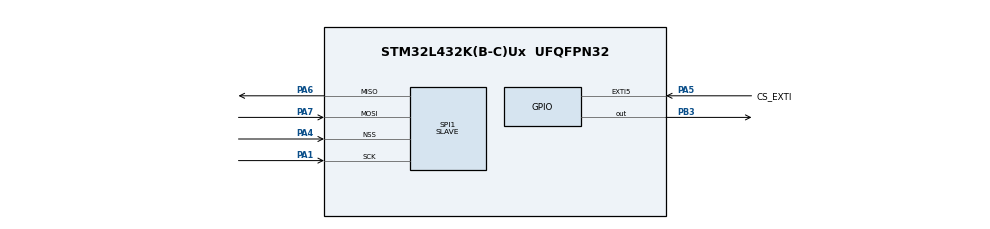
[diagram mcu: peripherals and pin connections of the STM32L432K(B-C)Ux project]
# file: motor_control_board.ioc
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Dma.Request0=SPI1_RX
Dma.Request1=SPI1_TX
Dma.SPI1_RX.0.Direction=DMA_PERIPH_TO_MEMORY
Dma.SPI1_RX.0.Instance=DMA1_Channel2
Dma.SPI1_RX.0.MemDataAlignment=DMA_MDATAALIGN_HALFWORD
Dma.SPI1_RX.0.MemInc=DMA_MINC_ENABLE
Dma.SPI1_RX.0.Mode=DMA_NORMAL
Dma.SPI1_RX.0.PeriphDataAlignment=DMA_PDATAALIGN_HALFWORD
Dma.SPI1_RX.0.PeriphInc=DMA_PINC_DISABLE
Dma.SPI1_RX.0.Priority=DMA_PRIORITY_HIGH
Dma.SPI1_TX.1.Direction=DMA_MEMORY_TO_PERIPH
Dma.SPI1_TX.1.Instance=DMA1_Channel3
Dma.SPI1_TX.1.MemDataAlignment=DMA_MDATAALIGN_HALFWORD
Dma.SPI1_TX.1.MemInc=DMA_MINC_ENABLE
Dma.SPI1_TX.1.Mode=DMA_NORMAL
Dma.SPI1_TX.1.PeriphDataAlignment=DMA_PDATAALIGN_HALFWORD
Dma.SPI1_TX.1.PeriphInc=DMA_PINC_DISABLE
Dma.SPI1_TX.1.Priority=DMA_PRIORITY_HIGH
FREERTOS.Tasks01=defaultTask,24,128,StartDefaultTask,Default,NULL,Dynamic,NULL,NULL
FREERTOS.configUSE_NEWLIB_REENTRANT=1
Mcu.Family=STM32L4
Mcu.Name=STM32L432K(B-C)Ux
Mcu.Package=UFQFPN32
NVIC.DMA1_Channel2_IRQn=true\:5\:0\:false\:false\:true\:true\:false\:true\:true
NVIC.DMA1_Channel3_IRQn=true\:5\:0\:false\:false\:true\:true\:false\:true\:true
NVIC.EXTI9_5_IRQn=true\:5\:0\:false\:false\:true\:true\:true\:true\:true
NVIC.PriorityGroup=NVIC_PRIORITYGROUP_4
PA1.Mode=Full_Duplex_Slave
PA1.Signal=SPI1_SCK
PA13\ (JTMS-SWDIO).Mode=Serial_Wire
PA13\ (JTMS-SWDIO).Signal=SYS_JTMS-SWDIO
PA14\ (JTCK-SWCLK).Mode=Serial_Wire
PA14\ (JTCK-SWCLK).Signal=SYS_JTCK-SWCLK
PA4.Mode=NSS_Signal_Hard_Input
PA4.Signal=SPI1_NSS
PA5.GPIO_Label=CS_EXTI
PA5.GPIO_ModeDefaultEXTI=GPIO_MODE_IT_FALLING
PA5.GPIO_PuPd=GPIO_PULLUP
PA5.Signal=GPXTI5
PA6.Mode=Full_Duplex_Slave
PA6.Signal=SPI1_MISO
PA7.Mode=Full_Duplex_Slave
PA7.Signal=SPI1_MOSI
PB3\ (JTDO-TRACESWO).Signal=GPIO_Output
ProjectManager.HeapSize=0x200
ProjectManager.StackSize=0x400
ProjectManager.TargetToolchain=CMake
RCC.HSE_VALUE=8000000
RCC.HSI48_VALUE=48000000
RCC.HSI_VALUE=16000000
RCC.LSE_VALUE=32768
RCC.MSI_VALUE=4000000
RCC.VCOOutputFreq_Value=32000000
SPI1.DataSize=SPI_DATASIZE_16BIT
SPI1.Direction=SPI_DIRECTION_2LINES
SPI1.FirstBit=SPI_FIRSTBIT_LSB
SPI1.Mode=SPI_MODE_SLAVE
SPI1.VirtualNSS=VM_NSSHARD
SPI1.VirtualType=VM_SLAVE
VP_FREERTOS_VS_CMSIS_V2.Mode=CMSIS_V2
board=custom

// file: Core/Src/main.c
/* USER CODE BEGIN Header */
/**
 ******************************************************************************
 * @file           : main.c
 * @brief          : Main program body
 ******************************************************************************
 * @attention
 *
 * Copyright (c) 2025 STMicroelectronics.
 * All rights reserved.
 *
 * This software is licensed under terms that can be found in the LICENSE file
 * in the root directory of this software component.
 * If no LICENSE file comes with this software, it is provided AS-IS.
 *
 ******************************************************************************
 */
/* USER CODE END Header */
#include "main.h"
#include "cmsis_os.h"
#include "dma.h"
#include "spi.h"
#include "gpio.h"

/* USER CODE BEGIN Includes */
#include "stm32l432xx.h"
#include "stm32l4xx_hal_pwr_ex.h"
#include "stm32l4xx_hal_rcc.h"
#include "stm32l4xx_hal_flash.h"
/* USER CODE END Includes */

/* USER CODE BEGIN PV */
uint8_t RX_Buffer[4];
/* USER CODE END PV */

void SystemClock_Config(void);
void MX_FREERTOS_Init(void);

int main(void)
{

  /* MCU Configuration--------------------------------------------------------*/

  /* Reset of all peripherals, Initializes the Flash interface and the Systick. */
  HAL_Init();

  /* Configure the system clock */
  SystemClock_Config();

  /* Initialize all configured peripherals */
  MX_GPIO_Init();
  MX_DMA_Init();
  MX_SPI1_Init();
  /* USER CODE BEGIN 2 */
  HAL_SPI_Receive_DMA(&hspi1, RX_Buffer, 4); // Receiving in DMA mode
  HAL_Delay(100);
  /* USER CODE END 2 */

  /* Init scheduler */
  osKernelInitialize();

  /* Call init function for freertos objects (in cmsis_os2.c) */
  MX_FREERTOS_Init();

  /* Start scheduler */
  osKernelStart();

  /* We should never get here as control is now taken by the scheduler */

  /* Infinite loop */
  while (1)
  {

  }
}

void SystemClock_Config(void)
{
  RCC_OscInitTypeDef RCC_OscInitStruct = {0};
  RCC_ClkInitTypeDef RCC_ClkInitStruct = {0};

  /** Configure the main internal regulator output voltage
  */
  if (HAL_PWREx_ControlVoltageScaling(PWR_REGULATOR_VOLTAGE_SCALE1) != HAL_OK)
  {
    Error_Handler();
  }

  /** Initializes the RCC Oscillators according to the specified parameters
  * in the RCC_OscInitTypeDef structure.
  */
  RCC_OscInitStruct.OscillatorType = RCC_OSCILLATORTYPE_MSI;
  RCC_OscInitStruct.MSIState = RCC_MSI_ON;
  RCC_OscInitStruct.MSICalibrationValue = 0;
  RCC_OscInitStruct.MSIClockRange = RCC_MSIRANGE_6;
  RCC_OscInitStruct.PLL.PLLState = RCC_PLL_NONE;
  if (HAL_RCC_OscConfig(&RCC_OscInitStruct) != HAL_OK)
  {
    Error_Handler();
  }

  /** Initializes the CPU, AHB and APB buses clocks
  */
  RCC_ClkInitStruct.ClockType = RCC_CLOCKTYPE_HCLK|RCC_CLOCKTYPE_SYSCLK
                              |RCC_CLOCKTYPE_PCLK1|RCC_CLOCKTYPE_PCLK2;
  RCC_ClkInitStruct.SYSCLKSource = RCC_SYSCLKSOURCE_MSI;
  RCC_ClkInitStruct.AHBCLKDivider = RCC_SYSCLK_DIV1;
  RCC_ClkInitStruct.APB1CLKDivider = RCC_HCLK_DIV1;
  RCC_ClkInitStruct.APB2CLKDivider = RCC_HCLK_DIV1;

  if (HAL_RCC_ClockConfig(&RCC_ClkInitStruct, FLASH_LATENCY_0) != HAL_OK)
  {
    Error_Handler();
  }
}

/* USER CODE BEGIN 4 */
void HAL_SPI_RxCpltCallback(SPI_HandleTypeDef *hspi)
{
  uint16_t left_pwm = RX_Buffer[0] | (RX_Buffer[1] << 8);
  uint16_t right_pwm = RX_Buffer[2] | (RX_Buffer[3] << 8);
  if (hspi->Instance == SPI1)
  {
    // Indicate completion (e.g., toggle LED, set flag, etc.)
    HAL_GPIO_WritePin(GPIOB, GPIO_PIN_3, 1);
    HAL_SPI_Receive_DMA(&hspi1, RX_Buffer, 4); // Receiving in DMA mode
  }
}
/* USER CODE END 4 */

void Error_Handler(void)
{
  __disable_irq();
  while (1)
  {
  }
}

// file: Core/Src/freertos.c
/* USER CODE BEGIN Header */
/**
 ******************************************************************************
 * File Name          : freertos.c
 * Description        : Code for freertos applications
 ******************************************************************************
 * @attention
 *
 * Copyright (c) 2025 STMicroelectronics.
 * All rights reserved.
 *
 * This software is licensed under terms that can be found in the LICENSE file
 * in the root directory of this software component.
 * If no LICENSE file comes with this software, it is provided AS-IS.
 *
 ******************************************************************************
 */
/* USER CODE END Header */

#include "FreeRTOS.h"
#include "task.h"
#include "main.h"
#include "cmsis_os.h"

/* USER CODE BEGIN Includes */
#include "stm32l432xx.h"
/* USER CODE END Includes */

/* Definitions for defaultTask */
osThreadId_t defaultTaskHandle;
const osThreadAttr_t defaultTask_attributes = {
    .name = "defaultTask",
    .stack_size = 128 * 4,
    .priority = (osPriority_t)osPriorityNormal,
};

void StartDefaultTask(void *argument);

void MX_FREERTOS_Init(void); /* (MISRA C 2004 rule 8.1) */

void MX_FREERTOS_Init(void)
{

  /* Create the thread(s) */
  /* creation of defaultTask */
  defaultTaskHandle = osThreadNew(StartDefaultTask, NULL, &defaultTask_attributes);

}

void StartDefaultTask(void *argument)
{
  /* USER CODE BEGIN StartDefaultTask */
  /* Infinite loop */
  for (;;)
  {
    HAL_GPIO_WritePin(GPIOB, GPIO_PIN_3, 0);
    HAL_Delay(250);
  }
  /* USER CODE END StartDefaultTask */
}

/* USER CODE BEGIN Application */
void HAL_GPIO_EXTI_Callback(uint16_t GPIO_Pin)
{
  // Stub implementation
  if (GPIO_Pin == CS_EXTI_Pin)
  {
    // Handle CS falling edge: arm DMA, set flag, etc.
  }
}
/* USER CODE END Application */
